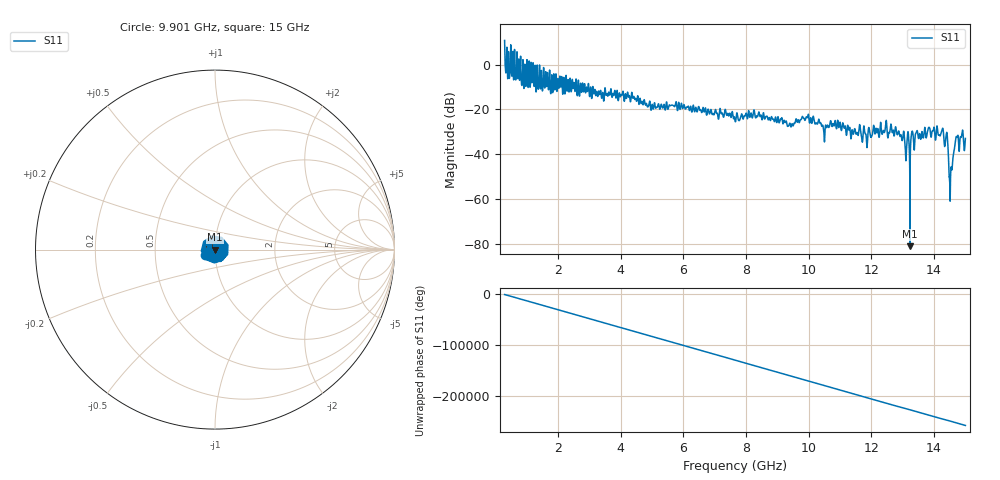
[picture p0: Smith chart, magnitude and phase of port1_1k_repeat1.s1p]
# GHZ S RI R 50.0
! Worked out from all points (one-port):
!   12801 points, 300 MHz to 15 GHz, reference 50 ohm
!   lowest |S11| = -81.2 dB at 13.23 GHz (marker M1), VSWR 1.00, Z = 50 - j0.00364 ohm
!   |S11| at or under -10 dB: 2.862 GHz to 2.961 GHz (99.26 MHz wide, 3.41 % of centre); 2.984 GHz to 3.111 GHz (126.9 MHz wide, 4.16 % of centre); 3.119 GHz to end of sweep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
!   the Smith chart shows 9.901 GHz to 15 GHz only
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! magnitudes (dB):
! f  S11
! 300 MHz  10.8
! 399.9 MHz  -6.2
! 751.3 MHz  2.5
! 909.8 MHz  -10.0
! 1.146 GHz  0.7
! 1.313 GHz  -11.5
! 2.138 GHz  -10.3
! 3.975 GHz  -13.6
! 5.012 GHz  -17.9
! 5.812 GHz  -20.5
! 7.65 GHz  -25.1
! 8.217 GHz  -23.2
! 9.488 GHz  -27.0
! 9.937 GHz  -23.5
! 10.47 GHz  -28.5
! 10.88 GHz  -28.2
! 11.32 GHz  -29.9
! 11.84 GHz  -34.2
! 12.43 GHz  -29.7
! 12.82 GHz  -31.2
! 13.16 GHz  -30.3
! 13.23 GHz  -81.2
! 13.47 GHz  -29.9
! 14.24 GHz  -29.9
! 14.39 GHz  -31.9
! 14.53 GHz  -47.7
! 14.71 GHz  -32.3
! 15 GHz  -33.0
